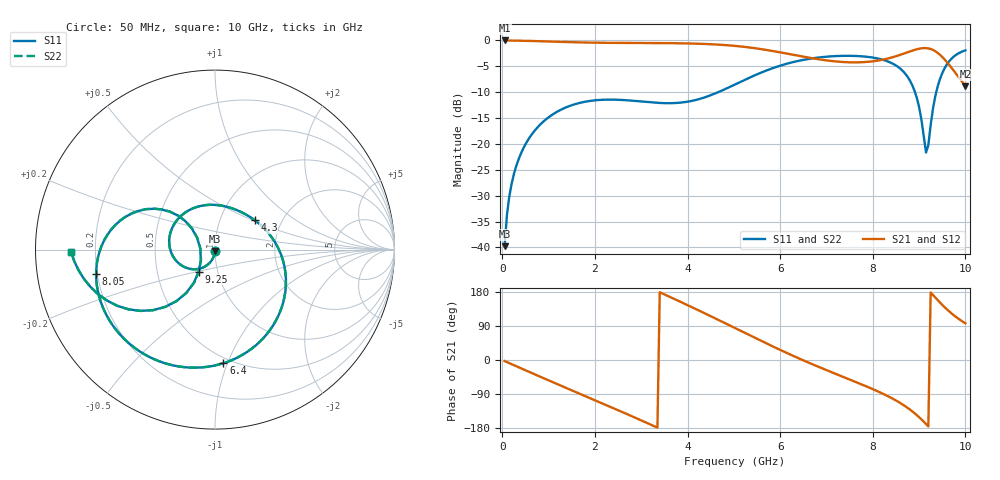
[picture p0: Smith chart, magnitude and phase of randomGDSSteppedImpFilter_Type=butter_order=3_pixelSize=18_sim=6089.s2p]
! freq	dB(S11)	phase(S11)	dB(S12)	phase(S12)
!  dB(S21)	phase(S21)	dB(S22)	phase(S22)
!S-par simulation data
#  GHz  S  DB  R 50
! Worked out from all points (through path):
!   200 points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, 50 MHz to 10 GHz, reference 50 ohm
!   highest |S21| = -0.01 dB at 50 MHz (marker M1); lowest = -8.8 dB at 10 GHz (marker M2)
!   group delay of S21, straight-line fit = 162 ps
!   lowest |S11| = -39.7 dB at 50 MHz (marker M3), VSWR 1.02, Z = 49.9 - j1.03 ohm
!   |S11| at or under -10 dB: start of sweep to 4.663 GHz; 8.911 GHz to 9.371 GHz (459.8 MHz wide, 5.03 % of centre)
!   |S22| runs from -39.7 to -1.9 dB; largest |S21 - S12| = 0
!   S11 on the Smith chart (normalised r, x): 50 MHz: 1.00, -0.02; 4.3 GHz: 1.46, +0.52; 6.4 GHz: 0.46, -0.97; 8.05 GHz: 0.20, -0.10; 9.25 GHz: 0.81, -0.20; 10 GHz: 0.11, -0.01
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0.05  -39.74 -92.4  -0.01 -2.8  -0.01 -2.8  -39.74 -92.4
0.1  -33.74 -95.4  -0.03 -5.5  -0.03 -5.5  -33.73 -95.4
0.2  -27.76 -101.1  -0.04 -10.9  -0.04 -10.9  -27.76 -101.1
0.5  -20.07 -117.6  -0.09 -27.1  -0.09 -27.1  -20.07 -117.7
1.15  -13.95 -152.3  -0.25 -61.7  -0.25 -61.7  -13.96 -152.3
1.75  -11.92 176.2  -0.40 -93.1  -0.40 -93.1  -11.92 176.2
2.7  -11.57 126.2  -0.50 -143.1  -0.50 -143.1  -11.57 126.1
3.4  -12.09 88.1  -0.52 178.7  -0.52 178.7  -12.09 87.9
4.3  -11.21 36.7  -0.67 127.4  -0.67 127.4  -11.21 36.5
5.05  -8.41 -7.8  -1.09 82.9  -1.09 82.9  -8.41 -8.0
5.75  -5.66 -49.3  -1.91 41.1  -1.91 41.1  -5.66 -49.5
6.4  -3.95 -85.8  -2.98 4.5  -2.98 4.5  -3.95 -85.9
6.7  -3.46 -101.5  -3.46 -11.4  -3.46 -11.4  -3.46 -101.6
7.3  -3.00 -131.4  -4.14 -41.5  -4.14 -41.5  -3.00 -131.5
8.05  -3.40 -168.4  -3.98 -79.5  -3.98 -79.5  -3.40 -168.5
8.35  -4.16 175.2  -3.45 -96.9  -3.45 -96.9  -4.16 175.1
8.9  -9.69 140.0  -1.84 -140.1  -1.84 -140.1  -9.69 139.8
9.15  -21.66 175.5  -1.49 -168.8  -1.49 -168.8  -21.77 175.3
9.25  -16.35 -126.5  -1.67 178.2  -1.67 178.2  -16.38 -126.2
9.4  -8.94 -126.8  -2.40 158.3  -2.40 158.3  -8.94 -126.7
9.55  -5.40 -140.5  -3.67 139.5  -3.67 139.5  -5.40 -140.4
10  -1.92 -178.8  -8.83 96.8  -8.83 96.8  -1.92 -178.8
